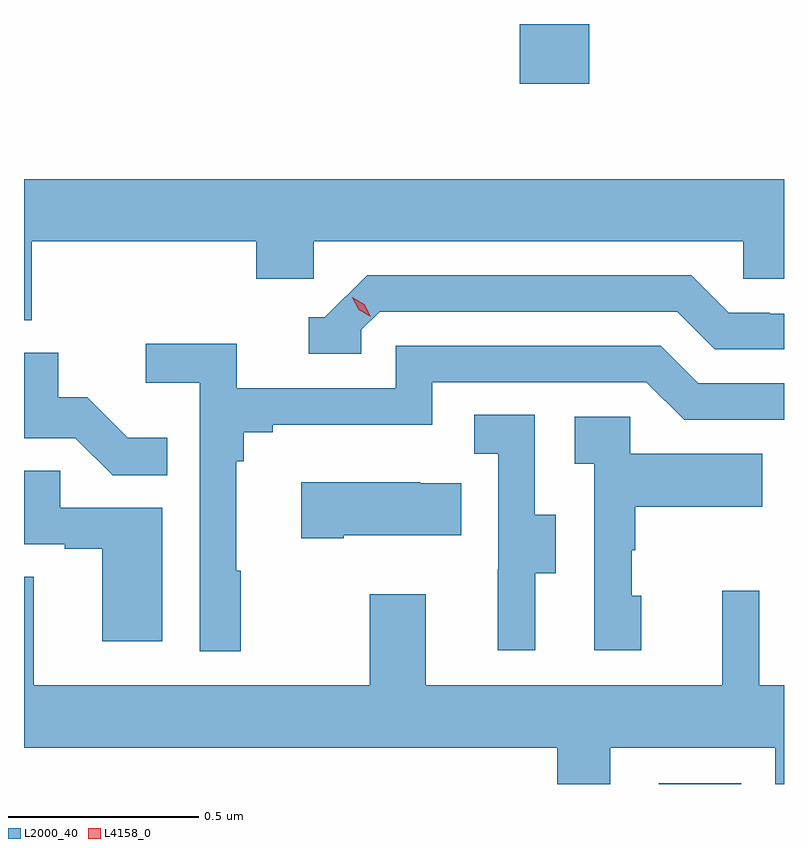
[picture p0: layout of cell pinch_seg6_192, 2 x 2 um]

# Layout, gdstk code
import gdstk
lib = gdstk.Library(unit=1e-6, precision=1e-09)
def R(c, l, rs):  # rectangles x0, y0, x1, y1
    for r in rs: c.add(gdstk.rectangle(r[:2], r[2:], *l))
def P(c, l, *ps):  # polygons
    for p in ps: c.add(gdstk.Polygon(p, *l))
L2000_40 = (2000, 40)
L4158_0 = (4158, 0)

pinch_seg6_192 = lib.new_cell('pinch_seg6_192')
R(pinch_seg6_192, L2000_40, [(1045.929,928.592,1046.146,928.594), (1045.562,930.435,1045.745,930.592)])
P(pinch_seg6_192, L2000_40, [(1044.278,930.02),(1044.869,930.02),(1044.869,929.922),(1045.02,929.922),(1045.02,930.02),(1046.151,930.02),(1046.151,929.922),(1046.258,929.922),(1046.258,930.184),(1044.258,930.184),(1044.258,929.812),(1044.278,929.812)],
  [(1045.146,929.787),(1045.194,929.835),(1045.977,929.835),(1046.076,929.736),(1046.258,929.736),(1046.258,929.829),(1046.22,929.829),(1046.22,929.832),(1046.113,929.832),(1046.014,929.931),(1045.161,929.931),(1045.05,929.82),(1045.007,929.82),(1045.007,929.724),(1045.146,929.724)],
  [(1044.829,929.153),(1044.817,929.153),(1044.817,929.441),(1044.836,929.441),(1044.836,929.518),(1044.913,929.518),(1044.913,929.537),(1045.332,929.537),(1045.332,929.649),(1045.896,929.649),(1045.995,929.55),(1046.258,929.55),(1046.258,929.646),(1046.032,929.646),(1045.933,929.745),(1045.236,929.745),(1045.236,929.634),(1044.818,929.634),(1044.818,929.75),(1044.579,929.75),(1044.579,929.648),(1044.72,929.648),(1044.72,928.941),(1044.829,928.941)],
  [(1044.635,929.503),(1044.531,929.503),(1044.424,929.61),(1044.348,929.61),(1044.348,929.727),(1044.258,929.727),(1044.258,929.502),(1044.393,929.502),(1044.491,929.404),(1044.635,929.404)],
  [(1045.603,929.146),(1045.657,929.146),(1045.657,929.301),(1045.602,929.301),(1045.602,929.564),(1045.443,929.564),(1045.443,929.461),(1045.506,929.461),(1045.506,929.157),(1045.505,929.157),(1045.505,928.944),(1045.603,928.944)],
  [(1045.882,929.088),(1045.857,929.088),(1045.857,929.207),(1045.867,929.207),(1045.867,929.321),(1046.201,929.321),(1046.201,929.461),(1045.854,929.461),(1045.854,929.559),(1045.707,929.559),(1045.707,929.435),(1045.758,929.435),(1045.758,928.944),(1045.882,928.944)],
  [(1044.622,929.319),(1044.353,929.319),(1044.353,929.417),(1044.258,929.417),(1044.258,929.223),(1044.365,929.223),(1044.365,929.211),(1044.464,929.211),(1044.464,928.968),(1044.622,928.968)],
  [(1045.099,929.246),(1045.409,929.246),(1045.409,929.383),(1045.301,929.383),(1045.301,929.386),(1044.987,929.386),(1044.987,929.239),(1045.099,929.239)],
  [(1045.801,928.688),(1046.235,928.688),(1046.235,928.592),(1046.258,928.592),(1046.258,928.852),(1046.193,928.852),(1046.193,929.101),(1046.096,929.101),(1046.096,928.852),(1045.315,928.852),(1045.315,929.092),(1045.168,929.092),(1045.168,928.852),(1044.283,928.852),(1044.283,929.138),(1044.258,929.138),(1044.258,928.688),(1045.661,928.688),(1045.661,928.592),(1045.801,928.592)])
P(pinch_seg6_192, L4158_0, [(1045.17,929.821),(1045.139,929.84),(1045.122,929.872),(1045.122,929.873),(1045.122,929.873),(1045.153,929.854),(1045.17,929.821),(1045.17,929.821)])

lib.write_gds('pinch_seg6_192.gds')
